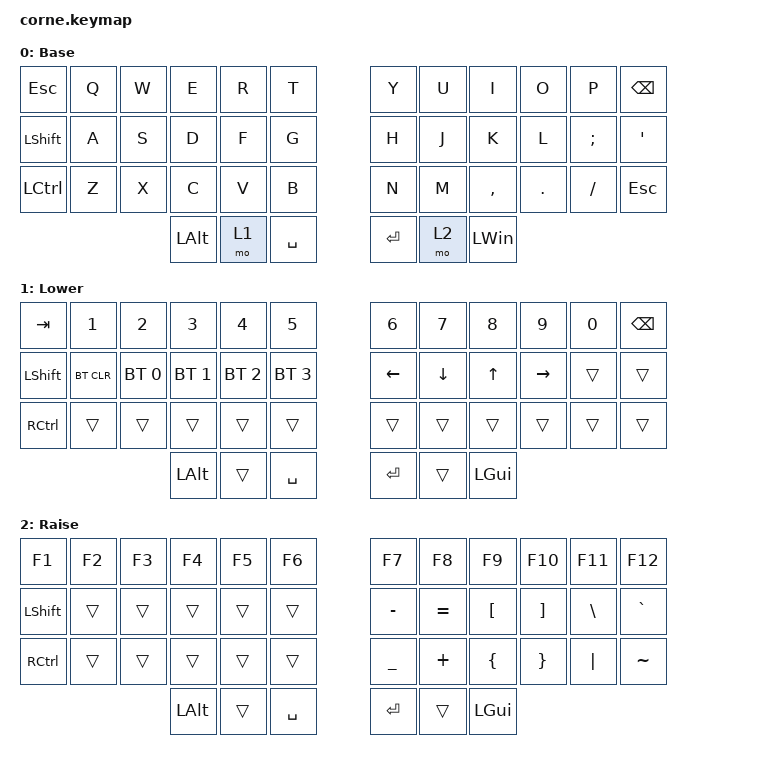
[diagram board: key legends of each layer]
/*
 * Copyright (c) 2020 The ZMK Contributors
 *
 * SPDX-License-Identifier: MIT
 */

#include <behaviors.dtsi>
#include <dt-bindings/zmk/bt.h>
#include <dt-bindings/zmk/keys.h>

/ {
    keymap {
        compatible = "zmk,keymap";

        default_layer {
            // -----------------------------------------------------------------------------------------
            // |  TAB |  Q  |  W  |  E  |  R  |  T  |   |  Y  |  U   |  I  |  O  |  P  | BKSP |
            // | CTRL |  A  |  S  |  D  |  F  |  G  |   |  H  |  J   |  K  |  L  |  ;  |  '   |
            // | SHFT |  Z  |  X  |  C  |  V  |  B  |   |  N  |  M   |  ,  |  .  |  /  | ESC  |
            //                    | GUI | LWR | SPC |   | ENT | RSE  | ALT |

            display-name = "Base";
            bindings = <
&kp ESC    &kp Q  &kp W  &kp E     &kp R  &kp T        &kp Y    &kp U  &kp I         &kp O    &kp P     &kp BSPC
&kp LSHFT  &kp A  &kp S  &kp D     &kp F  &kp G        &kp H    &kp J  &kp K         &kp L    &kp SEMI  &kp SQT
&kp LCTRL  &kp Z  &kp X  &kp C     &kp V  &kp B        &kp N    &kp M  &kp COMMA     &kp DOT  &kp FSLH  &kp ESC
                         &kp LALT  &mo 1  &kp SPACE    &kp RET  &mo 2  &kp LEFT_WIN
            >;
        };

        lower_layer {
            // -----------------------------------------------------------------------------------------
            // |  TAB |  1  |  2  |  3  |  4  |  5  |   |  6  |  7  |  8  |  9  |  0  | BKSP |
            // | BTCLR| BT1 | BT2 | BT3 | BT4 | BT5 |   | LFT | DWN |  UP | RGT |     |      |
            // | SHFT |     |     |     |     |     |   |     |     |     |     |     |      |
            //                    | GUI |     | SPC |   | ENT |     | ALT |

            display-name = "Lower";
            bindings = <
&kp TAB         &kp N1      &kp N2        &kp N3        &kp N4        &kp N5          &kp N6    &kp N7    &kp N8    &kp N9     &kp N0  &kp BSPC
&kp LEFT_SHIFT  &bt BT_CLR  &bt BT_SEL 0  &bt BT_SEL 1  &bt BT_SEL 2  &bt BT_SEL 3    &kp LEFT  &kp DOWN  &kp UP    &kp RIGHT  &trans  &trans
&kp RCTRL       &trans      &trans        &trans        &trans        &trans          &trans    &trans    &trans    &trans     &trans  &trans
                                          &kp LALT      &trans        &kp SPACE       &kp RET   &trans    &kp LGUI
            >;
        };

        raise_layer {
            // -----------------------------------------------------------------------------------------
            // |  TAB |  !  |  @  |  #  |  $  |  %  |   |  ^  |  &  |  *  |  (  |  )  | BKSP |
            // | CTRL |     |     |     |     |     |   |  -  |  =  |  [  |  ]  |  \  |  `   |
            // | SHFT |     |     |     |     |     |   |  _  |  +  |  {  |  }  | "|" |  ~   |
            //                    | GUI |     | SPC |   | ENT |     | ALT |

            display-name = "Raise";
            bindings = <
&kp F1     &kp F2  &kp F3  &kp F4    &kp F5  &kp F6       &kp F7     &kp F8     &kp F9    &kp F10   &kp F11   &kp F12
&kp LSHFT  &trans  &trans  &trans    &trans  &trans       &kp MINUS  &kp EQUAL  &kp LBKT  &kp RBKT  &kp BSLH  &kp GRAVE
&kp RCTRL  &trans  &trans  &trans    &trans  &trans       &kp UNDER  &kp PLUS   &kp LBRC  &kp RBRC  &kp PIPE  &kp TILDE
                           &kp LALT  &trans  &kp SPACE    &kp RET    &trans     &kp LGUI
            >;
        };

        extra_1 { status = "reserved"; };

        extra_2 { status = "reserved"; };

        extra_3 { status = "reserved"; };
    };
};
